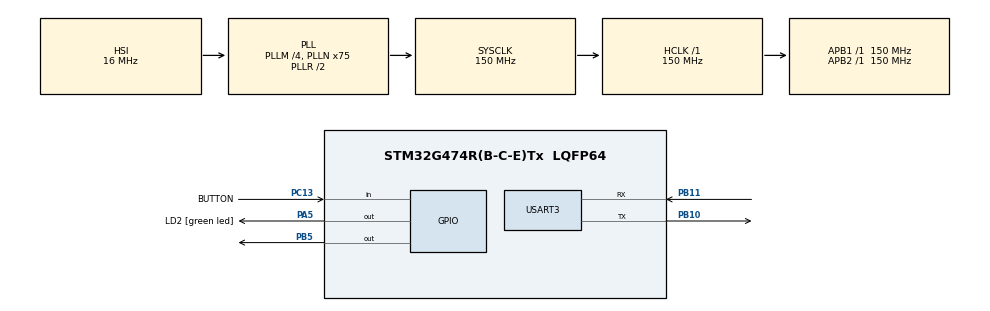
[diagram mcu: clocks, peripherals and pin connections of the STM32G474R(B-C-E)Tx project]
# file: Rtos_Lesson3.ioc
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FREERTOS.Queues01=myQueue01,10,uint16_t,0,Dynamic,NULL,NULL
FREERTOS.Tasks01=defaultTask,8,128,StartDefaultTask,Default,NULL,Dynamic,NULL,NULL;_vRecieverTask,24,128,vRecieverTask_Func,Default,NULL,Dynamic,NULL,NULL;_KeyboardTask,24,128,KeyboardTask_Func,Default,NULL,Dynamic,NULL,NULL
FREERTOS.configENABLE_FPU=1
FREERTOS.configGENERATE_RUN_TIME_STATS=1
FREERTOS.configRECORD_STACK_HIGH_ADDRESS=1
FREERTOS.configTOTAL_HEAP_SIZE=9216
FREERTOS.configUSE_NEWLIB_REENTRANT=1
FREERTOS.configUSE_STATS_FORMATTING_FUNCTIONS=1
FREERTOS.configUSE_TRACE_FACILITY=1
Mcu.Family=STM32G4
Mcu.Name=STM32G474R(B-C-E)Tx
Mcu.Package=LQFP64
NVIC.PriorityGroup=NVIC_PRIORITYGROUP_4
NVIC.TIM1_TRG_COM_TIM17_IRQn=true\:15\:0\:false\:false\:true\:false\:false\:true\:true
NVIC.TIM4_IRQn=true\:5\:0\:false\:false\:true\:true\:true\:true\:true
NVIC.TimeBase=TIM1_TRG_COM_TIM17_IRQn
NVIC.TimeBaseIP=TIM17
PA13.GPIO_Label=T_SWDIO
PA13.Mode=Trace_Asynchronous_SW
PA13.Signal=SYS_JTMS-SWDIO
PA14.GPIO_Label=T_SWCLK
PA14.Mode=Trace_Asynchronous_SW
PA14.Signal=SYS_JTCK-SWCLK
PA2.GPIO_Label=LPUART1_TX [STLINKV3E_VCP_RX]
PA2.Signal=LPUART1_TX
PA3.GPIO_Label=LPUART1_RX [STLINKV3E_VCP_TX]
PA3.Signal=LPUART1_RX
PA5.GPIO_Label=LD2 [green led]
PA5.Signal=GPIO_Output
PB10.Mode=Asynchronous
PB10.Signal=USART3_TX
PB11.Mode=Asynchronous
PB11.Signal=USART3_RX
PB3.GPIO_Label=T_SWO
PB3.Mode=Trace_Asynchronous_SW
PB3.Signal=SYS_JTDO-SWO
PB5.Signal=GPIO_Output
PC13.GPIO_Label=BUTTON
PC13.Signal=GPIO_Input
PC14-OSC32_IN.Mode=LSE-External-Oscillator
PC14-OSC32_IN.Signal=RCC_OSC32_IN
PC15-OSC32_OUT.Mode=LSE-External-Oscillator
PC15-OSC32_OUT.Signal=RCC_OSC32_OUT
PF0-OSC_IN.Mode=HSE-External-Oscillator
PF0-OSC_IN.Signal=RCC_OSC_IN
PF1-OSC_OUT.Mode=HSE-External-Oscillator
PF1-OSC_OUT.Signal=RCC_OSC_OUT
ProjectManager.HeapSize=0x200
ProjectManager.StackSize=0x400
ProjectManager.TargetToolchain=STM32CubeIDE
RCC.ADC12Freq_Value=150000000
RCC.ADC345Freq_Value=150000000
RCC.AHBFreq_Value=150000000
RCC.APB1Freq_Value=150000000
RCC.APB1TimFreq_Value=150000000
RCC.APB2Freq_Value=150000000
RCC.APB2TimFreq_Value=150000000
RCC.CortexFreq_Value=150000000
RCC.EXTERNAL_CLOCK_VALUE=12288000
RCC.HCLKFreq_Value=150000000
RCC.HSE_VALUE=24000000
RCC.HSI48_VALUE=48000000
RCC.HSI_VALUE=16000000
RCC.PLLM=RCC_PLLM_DIV4
RCC.PLLN=75
RCC.RTCClockSelection=RCC_RTCCLKSOURCE_LSE
RCC.SYSCLKFreq_VALUE=150000000
RCC.SYSCLKSource=RCC_SYSCLKSOURCE_PLLCLK
RCC.USBFreq_Value=150000000
RCC.VCOOutputFreq_Value=300000000
TIM4.PeriodNoDither=0
TIM4.Prescaler=6553
USART3.AutoBaudRateEnableParam=UART_ADVFEATURE_AUTOBAUDRATE_DISABLE
USART3.DataInvertParam=ADVFEATURE_DATAINV_DISABLE
USART3.MSBFirstParam=ADVFEATURE_MSBFIRST_DISABLE
USART3.Parity=PARITY_NONE
USART3.VirtualMode-Asynchronous=VM_ASYNC
VP_FREERTOS_VS_CMSIS_V2.Mode=CMSIS_V2
VP_SYS_VS_DBSignals.Mode=DisableDeadBatterySignals
VP_SYS_VS_tim17.Mode=TIM17
VP_TIM4_VS_ClockSourceINT.Mode=Internal
board=NUCLEO-G474RE

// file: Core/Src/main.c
/* USER CODE BEGIN Header */
/**
 ******************************************************************************
 * @file           : main.c
 * @brief          : Main program body
 ******************************************************************************
 * @attention
 *
 * Copyright (c) 2023 STMicroelectronics.
 * All rights reserved.
 *
 * This software is licensed under terms that can be found in the LICENSE file
 * in the root directory of this software component.
 * If no LICENSE file comes with this software, it is provided AS-IS.
 *
 ******************************************************************************
 */
/* USER CODE END Header */
#include "main.h"
#include "cmsis_os.h"

/* USER CODE BEGIN Includes */
#include "SEGGER_RTT.h"
#include "SEGGER_SYSVIEW.h"
#include <stdint.h>
#include <string.h>
#include <stdint.h>
#include <stdio.h>
/* USER CODE END Includes */

/* USER CODE BEGIN PTD */
typedef uint32_t TaskProfiler;

//struct Period_t {
//  uint32_t LD2_Period;
//  uint32_t YELLOW_Period;
//
//} Led = { 100, 300
//
//};
/* USER CODE END PTD */

/* USER CODE BEGIN PD */
#define SOFTWARE_DEBUG  1

/* USER CODE END PD */

TIM_HandleTypeDef htim4;

UART_HandleTypeDef huart3;

/* Definitions for defaultTask */
osThreadId_t defaultTaskHandle;
const osThreadAttr_t defaultTask_attributes = { .name = "defaultTask",
    .priority = (osPriority_t) osPriorityLow, .stack_size = 128 * 4 };
/* Definitions for _vRecieverTask */
osThreadId_t _vRecieverTaskHandle;
const osThreadAttr_t _vRecieverTask_attributes = { .name = "_vRecieverTask",
    .priority = (osPriority_t) osPriorityNormal, .stack_size = 128 * 4 };
/* Definitions for _KeyboardTask */
osThreadId_t _KeyboardTaskHandle;
const osThreadAttr_t _KeyboardTask_attributes = { .name = "_KeyboardTask",
    .priority = (osPriority_t) osPriorityNormal, .stack_size = 128 * 4 };
/* Definitions for myQueue01 */
osMessageQueueId_t myQueue01Handle;
const osMessageQueueAttr_t myQueue01_attributes = { .name = "myQueue01" };
/* USER CODE BEGIN PV */
/*+++++++++++++++++++++++++++++++++++++++++++++++++++++++++*/
uint32_t LD2_Period = 100;
uint32_t YELLOW_Period = 300;
osStatus_t status;
uint32_t send_value = 42;
uint32_t receive_value;

char char_buffer[40] = { '0' };

uint32_t MemProfiler = 0;
TaskProfiler Task_LD2_Profiler, YELLOW_Profiler, Default_Profiler, MemProfiler;

volatile uint32_t freemem;
volatile uint32_t minfreemem;
uint8_t NumberOfTasks;

char pcWriteBuffer[512];
uint32_t key_status = 0x0;
uint32_t LedStatus = 0x1;

//Led.LD2_Period =100;
//Led.YELLOW_Period =300;

/* USER CODE END PV */

void SystemClock_Config(void);
static void MX_GPIO_Init(void);
static void MX_USART3_UART_Init(void);
static void MX_TIM4_Init(void);
void StartDefaultTask(void *argument);
void vRecieverTask_Func(void *argument);
void KeyboardTask_Func(void *argument);

/* USER CODE BEGIN PFP */
void vPrintStringAndNumber(uint32_t value);
/* USER CODE END PFP */

int main(void) {

  /* MCU Configuration--------------------------------------------------------*/

  /* Reset of all peripherals, Initializes the Flash interface and the Systick. */
  HAL_Init();

  /* Configure the system clock */
  SystemClock_Config();

  /* Initialize all configured peripherals */
  MX_GPIO_Init();
  MX_USART3_UART_Init();
  MX_TIM4_Init();

  /* Init scheduler */
  osKernelInitialize();

  /* Create the queue(s) */
  /* creation of myQueue01 */
  myQueue01Handle = osMessageQueueNew(10, sizeof(uint16_t),
      &myQueue01_attributes);

  /* Create the thread(s) */
  /* creation of defaultTask */
  defaultTaskHandle = osThreadNew(StartDefaultTask, NULL,
      &defaultTask_attributes);

  /* creation of _vRecieverTask */
  _vRecieverTaskHandle = osThreadNew(vRecieverTask_Func, NULL,
      &_vRecieverTask_attributes);

  /* creation of _KeyboardTask */
  _KeyboardTaskHandle = osThreadNew(KeyboardTask_Func, NULL,
      &_KeyboardTask_attributes);

  /* Start scheduler */
  osKernelStart();
  /* We should never get here as control is now taken by the scheduler */
  /* Infinite loop */
  /* USER CODE BEGIN WHILE */
  while (1) {
//      HAL_GPIO_TogglePin(LD2_GPIO_Port, LD2_Pin);
//    HAL_Delay(500);
//    vTaskDelay(150);

    /* USER CODE END WHILE */

  }
}

void SystemClock_Config(void) {
  RCC_OscInitTypeDef RCC_OscInitStruct = { 0 };
  RCC_ClkInitTypeDef RCC_ClkInitStruct = { 0 };

  /** Configure the main internal regulator output voltage
   */
  HAL_PWREx_ControlVoltageScaling(PWR_REGULATOR_VOLTAGE_SCALE1);

  /** Initializes the RCC Oscillators according to the specified parameters
   * in the RCC_OscInitTypeDef structure.
   */
  RCC_OscInitStruct.OscillatorType = RCC_OSCILLATORTYPE_HSI;
  RCC_OscInitStruct.HSIState = RCC_HSI_ON;
  RCC_OscInitStruct.HSICalibrationValue = RCC_HSICALIBRATION_DEFAULT;
  RCC_OscInitStruct.PLL.PLLState = RCC_PLL_ON;
  RCC_OscInitStruct.PLL.PLLSource = RCC_PLLSOURCE_HSI;
  RCC_OscInitStruct.PLL.PLLM = RCC_PLLM_DIV4;
  RCC_OscInitStruct.PLL.PLLN = 75;
  RCC_OscInitStruct.PLL.PLLP = RCC_PLLP_DIV2;
  RCC_OscInitStruct.PLL.PLLQ = RCC_PLLQ_DIV2;
  RCC_OscInitStruct.PLL.PLLR = RCC_PLLR_DIV2;
  if (HAL_RCC_OscConfig(&RCC_OscInitStruct) != HAL_OK) {
    Error_Handler();
  }

  /** Initializes the CPU, AHB and APB buses clocks
   */
  RCC_ClkInitStruct.ClockType = RCC_CLOCKTYPE_HCLK | RCC_CLOCKTYPE_SYSCLK
      | RCC_CLOCKTYPE_PCLK1 | RCC_CLOCKTYPE_PCLK2;
  RCC_ClkInitStruct.SYSCLKSource = RCC_SYSCLKSOURCE_PLLCLK;
  RCC_ClkInitStruct.AHBCLKDivider = RCC_SYSCLK_DIV1;
  RCC_ClkInitStruct.APB1CLKDivider = RCC_HCLK_DIV1;
  RCC_ClkInitStruct.APB2CLKDivider = RCC_HCLK_DIV1;

  if (HAL_RCC_ClockConfig(&RCC_ClkInitStruct, FLASH_LATENCY_4) != HAL_OK) {
    Error_Handler();
  }
}

static void MX_TIM4_Init(void) {

  TIM_ClockConfigTypeDef sClockSourceConfig = { 0 };
  TIM_MasterConfigTypeDef sMasterConfig = { 0 };

  htim4.Instance = TIM4;
  htim4.Init.Prescaler = 6553;
  htim4.Init.CounterMode = TIM_COUNTERMODE_UP;
  htim4.Init.Period = 0;
  htim4.Init.ClockDivision = TIM_CLOCKDIVISION_DIV1;
  htim4.Init.AutoReloadPreload = TIM_AUTORELOAD_PRELOAD_DISABLE;
  if (HAL_TIM_Base_Init(&htim4) != HAL_OK) {
    Error_Handler();
  }
  sClockSourceConfig.ClockSource = TIM_CLOCKSOURCE_INTERNAL;
  if (HAL_TIM_ConfigClockSource(&htim4, &sClockSourceConfig) != HAL_OK) {
    Error_Handler();
  }
  sMasterConfig.MasterOutputTrigger = TIM_TRGO_RESET;
  sMasterConfig.MasterSlaveMode = TIM_MASTERSLAVEMODE_DISABLE;
  if (HAL_TIMEx_MasterConfigSynchronization(&htim4, &sMasterConfig) != HAL_OK) {
    Error_Handler();
  }

}

static void MX_USART3_UART_Init(void) {

  huart3.Instance = USART3;
  huart3.Init.BaudRate = 115200;
  huart3.Init.WordLength = UART_WORDLENGTH_8B;
  huart3.Init.StopBits = UART_STOPBITS_1;
  huart3.Init.Parity = UART_PARITY_NONE;
  huart3.Init.Mode = UART_MODE_TX_RX;
  huart3.Init.HwFlowCtl = UART_HWCONTROL_NONE;
  huart3.Init.OverSampling = UART_OVERSAMPLING_16;
  huart3.Init.OneBitSampling = UART_ONE_BIT_SAMPLE_DISABLE;
  huart3.Init.ClockPrescaler = UART_PRESCALER_DIV1;
  huart3.AdvancedInit.AdvFeatureInit = UART_ADVFEATURE_NO_INIT;
  if (HAL_UART_Init(&huart3) != HAL_OK) {
    Error_Handler();
  }
  if (HAL_UARTEx_SetTxFifoThreshold(&huart3, UART_TXFIFO_THRESHOLD_1_8)
      != HAL_OK) {
    Error_Handler();
  }
  if (HAL_UARTEx_SetRxFifoThreshold(&huart3, UART_RXFIFO_THRESHOLD_1_8)
      != HAL_OK) {
    Error_Handler();
  }
  if (HAL_UARTEx_DisableFifoMode(&huart3) != HAL_OK) {
    Error_Handler();
  }

}

static void MX_GPIO_Init(void) {
  GPIO_InitTypeDef GPIO_InitStruct = { 0 };

  /* GPIO Ports Clock Enable */
  __HAL_RCC_GPIOC_CLK_ENABLE();
  __HAL_RCC_GPIOF_CLK_ENABLE();
  __HAL_RCC_GPIOA_CLK_ENABLE();
  __HAL_RCC_GPIOB_CLK_ENABLE();

  /*Configure GPIO pin Output Level */
  HAL_GPIO_WritePin(LD2_GPIO_Port, LD2_Pin, GPIO_PIN_RESET);

  /*Configure GPIO pin Output Level */
  HAL_GPIO_WritePin(GPIOB, GPIO_PIN_5, GPIO_PIN_RESET);

  /*Configure GPIO pin : BUTTON_Pin */
  GPIO_InitStruct.Pin = BUTTON_Pin;
  GPIO_InitStruct.Mode = GPIO_MODE_INPUT;
  GPIO_InitStruct.Pull = GPIO_NOPULL;
  HAL_GPIO_Init(BUTTON_GPIO_Port, &GPIO_InitStruct);

  /*Configure GPIO pins : LPUART1_TX_Pin LPUART1_RX_Pin */
  GPIO_InitStruct.Pin = LPUART1_TX_Pin | LPUART1_RX_Pin;
  GPIO_InitStruct.Mode = GPIO_MODE_AF_PP;
  GPIO_InitStruct.Pull = GPIO_NOPULL;
  GPIO_InitStruct.Speed = GPIO_SPEED_FREQ_LOW;
  GPIO_InitStruct.Alternate = GPIO_AF12_LPUART1;
  HAL_GPIO_Init(GPIOA, &GPIO_InitStruct);

  /*Configure GPIO pin : LD2_Pin */
  GPIO_InitStruct.Pin = LD2_Pin;
  GPIO_InitStruct.Mode = GPIO_MODE_OUTPUT_PP;
  GPIO_InitStruct.Pull = GPIO_NOPULL;
  GPIO_InitStruct.Speed = GPIO_SPEED_FREQ_LOW;
  HAL_GPIO_Init(LD2_GPIO_Port, &GPIO_InitStruct);

  /*Configure GPIO pin : PB5 */
  GPIO_InitStruct.Pin = GPIO_PIN_5;
  GPIO_InitStruct.Mode = GPIO_MODE_OUTPUT_PP;
  GPIO_InitStruct.Pull = GPIO_NOPULL;
  GPIO_InitStruct.Speed = GPIO_SPEED_FREQ_LOW;
  HAL_GPIO_Init(GPIOB, &GPIO_InitStruct);

}

/* USER CODE BEGIN 4 */
void vPrintStringAndNumber(uint32_t value) {
  snprintf(char_buffer, sizeof(char_buffer), "\nValue: %ld\n", value);
  HAL_UART_Transmit(&huart3, (uint8_t*) char_buffer, strlen(char_buffer),
  HAL_MAX_DELAY);
}
/* USER CODE END 4 */

void StartDefaultTask(void *argument) {
  for (;;) {
    osDelay(1);
  }
}

void vRecieverTask_Func(void *argument) {
  /* USER CODE BEGIN vRecieverTask_Func */
  /* Infinite loop */
  for (;;) {
    HAL_GPIO_TogglePin(GPIOB, GPIO_PIN_5);
    vTaskDelay(YELLOW_Period);
    vPrintStringAndNumber(YELLOW_Period);
    osStatus_t status = osMessageQueueGet(myQueue01Handle, &YELLOW_Period,
    NULL, 100);
    if (status == osOK) {
      HAL_GPIO_TogglePin(GPIOB, GPIO_PIN_5);
      vTaskDelay(YELLOW_Period);
      vPrintStringAndNumber(YELLOW_Period);
    }
//    else {
//      HAL_UART_Transmit(&huart3, (uint8_t*) "error\n\r", 5, 20);
//    }
    osThreadYield();
  }
  /* USER CODE END vRecieverTask_Func */
}

void KeyboardTask_Func(void *argument) {
  /* USER CODE BEGIN KeyboardTask_Func */
  /* Infinite loop */
  for (;;) {
    key_status = (key_status << 1)
        + HAL_GPIO_ReadPin(BUTTON_GPIO_Port, BUTTON_Pin);
    if ((key_status == 0xFFFF) & (LedStatus == 1)) {
      LedStatus = 2;
      key_status = 0x0;
      YELLOW_Period = 1200;
      LD2_Period = 30;
      osMessageQueueGet(myQueue01Handle, &YELLOW_Period,
      NULL, 100);
      osThreadYield();
    }

    if ((key_status == 0xFFFF) & (LedStatus == 2)) {
      LedStatus = 1;
      key_status = 0x0;
      YELLOW_Period = 30;
      LD2_Period = 1000;
      osMessageQueueGet(myQueue01Handle, &YELLOW_Period,
      NULL, 100);
      osThreadYield();
    }
    /* USER CODE END KeyboardTask_Func */
  }
}
void HAL_TIM_PeriodElapsedCallback(TIM_HandleTypeDef *htim) {
  if (htim->Instance == TIM17) {
    HAL_IncTick();
  }
}

void Error_Handler(void) {
  __disable_irq();
  while (1) {
  }
}

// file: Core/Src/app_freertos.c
/* USER CODE BEGIN Header */
/**
 ******************************************************************************
 * File Name          : app_freertos.c
 * Description        : Code for freertos applications
 ******************************************************************************
 * @attention
 *
 * Copyright (c) 2023 STMicroelectronics.
 * All rights reserved.
 *
 * This software is licensed under terms that can be found in the LICENSE file
 * in the root directory of this software component.
 * If no LICENSE file comes with this software, it is provided AS-IS.
 *
 ******************************************************************************
 */
/* USER CODE END Header */

#include "FreeRTOS.h"
#include "task.h"
#include "main.h"
#include "cmsis_os.h"

/* Definitions for defaultTask */
osThreadId_t defaultTaskHandle;
const osThreadAttr_t defaultTask_attributes = { .name = "defaultTask",
    .priority = (osPriority_t) osPriorityNormal, .stack_size = 128 * 4 };
/* Definitions for LD2_Task */
osThreadId_t LD2_TaskHandle;
const osThreadAttr_t LD2_Task_attributes = { .name = "LD2_Task", .priority =
    (osPriority_t) osPriorityNormal, .stack_size = 128 * 4 };
/* Definitions for LEDYellow_Task */
osThreadId_t LEDYellow_TaskHandle;
const osThreadAttr_t LEDYellow_Task_attributes = { .name = "LEDYellow_Task",
    .priority = (osPriority_t) osPriorityNormal, .stack_size = 128 * 4 };
/* Definitions for TaskMemory */
osThreadId_t TaskMemoryHandle;
const osThreadAttr_t TaskMemory_attributes = { .name = "TaskMemory", .priority =
    (osPriority_t) osPriorityNormal, .stack_size = 128 * 4 };

void StartDefaultTask(void *argument);
void LD2TaskFunc(void *argument);
void YellowLED_Func(void *argument);
void TaskMemory_Func(void *argument);

void MX_FREERTOS_Init(void); /* (MISRA C 2004 rule 8.1) */

/* Hook prototypes */
void configureTimerForRunTimeStats(void);
unsigned long getRunTimeCounterValue(void);

/* USER CODE BEGIN 1 */
/* Functions needed when configGENERATE_RUN_TIME_STATS is on */
__weak void configureTimerForRunTimeStats(void) {

}

__weak unsigned long getRunTimeCounterValue(void) {
  return 0;
}
/* USER CODE END 1 */

void MX_FREERTOS_Init(void) {

  /* Create the thread(s) */
  /* creation of defaultTask */
  defaultTaskHandle = osThreadNew(StartDefaultTask, NULL,
      &defaultTask_attributes);

  /* creation of LD2_Task */
  LD2_TaskHandle = osThreadNew(LD2TaskFunc, NULL, &LD2_Task_attributes);

  /* creation of LEDYellow_Task */
  LEDYellow_TaskHandle = osThreadNew(YellowLED_Func, NULL,
      &LEDYellow_Task_attributes);

  /* creation of TaskMemory */
  TaskMemoryHandle = osThreadNew(TaskMemory_Func, NULL, &TaskMemory_attributes);

}

void StartDefaultTask(void *argument) {
  /* USER CODE BEGIN StartDefaultTask */
  /* Infinite loop */
  for (;;) {
    vTaskDelay(1);
  }
  /* USER CODE END StartDefaultTask */
}

void LD2TaskFunc(void *argument) {
  /* USER CODE BEGIN LD2TaskFunc */
  /* Infinite loop */
  for (;;) {
    vTaskDelay(150);
    HAL_GPIO_TogglePin(LD2_GPIO_Port, LD2_Pin);
  }
  /* USER CODE END LD2TaskFunc */
}

void YellowLED_Func(void *argument) {
  /* USER CODE BEGIN YellowLED_Func */
  /* Infinite loop */
  for (;;) {
    HAL_GPIO_TogglePin(YELLOW_GPIO_PORT, YELLOW_PIN);
    vTaskDelay(150);
  }
  /* USER CODE END YellowLED_Func */
}

void TaskMemory_Func(void *argument) {
  /* USER CODE BEGIN TaskMemory_Func */
  /* Infinite loop */
  for (;;) {
    vTaskDelay(1);
  }
  /* USER CODE END TaskMemory_Func */
}
